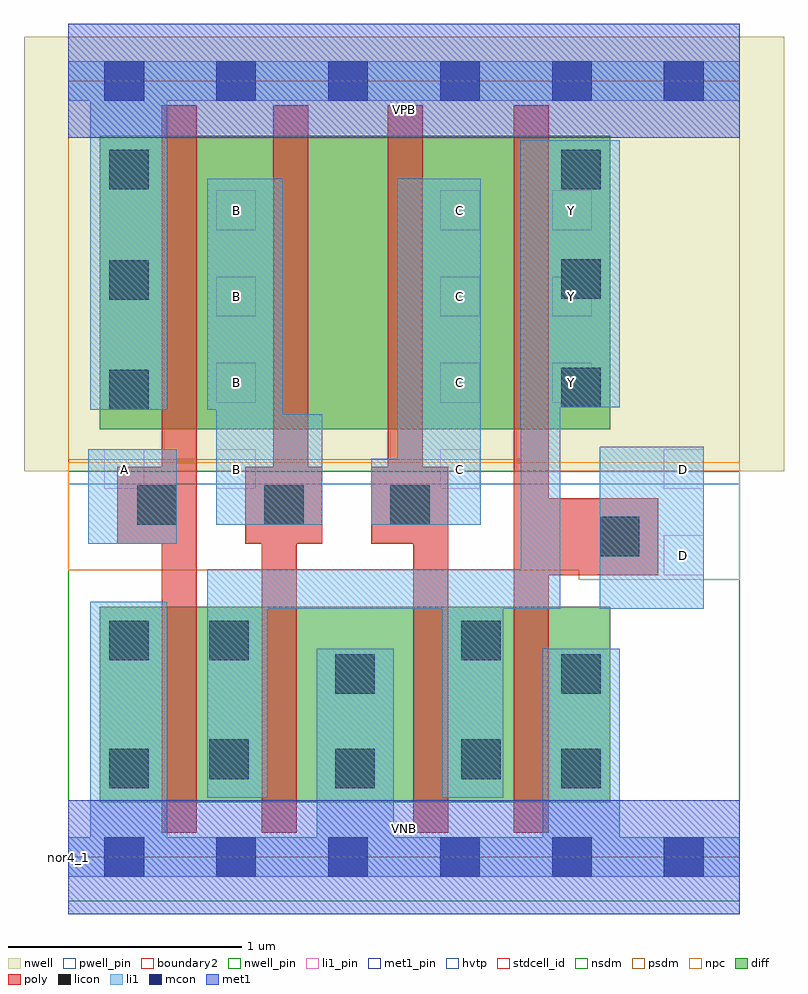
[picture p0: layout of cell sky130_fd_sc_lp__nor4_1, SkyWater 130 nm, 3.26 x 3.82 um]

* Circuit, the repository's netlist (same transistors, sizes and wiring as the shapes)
* Copyright 2020 The SkyWater PDK Authors
*
* Licensed under the Apache License, Version 2.0 (the "License");
* you may not use this file except in compliance with the License.
* You may obtain a copy of the License at
*
*     https://www.apache.org/licenses/LICENSE-2.0
*
* Unless required by applicable law or agreed to in writing, software
* distributed under the License is distributed on an "AS IS" BASIS,
* WITHOUT WARRANTIES OR CONDITIONS OF ANY KIND, either express or implied.
* See the License for the specific language governing permissions and
* limitations under the License.
*
* SPDX-License-Identifier: Apache-2.0

.SUBCKT sky130_fd_sc_lp__nor4_1 A B C D VGND VNB VPB VPWR Y
*.PININFO A:I B:I C:I D:I VGND:I VNB:I VPB:I VPWR:I Y:O
MMP0 VPWR A sndPA VPB sky130_fd_pr__pfet_01v8_hvt m=1 w=1.26U l=0.15U mult=1 sa=0.265
+ sb=0.265 sd=0.28 area=0.028 perim=0.76
MMP1 sndPA B sndPB VPB sky130_fd_pr__pfet_01v8_hvt m=1 w=1.26U l=0.15U mult=1 sa=0.265
+ sb=0.265 sd=0.28 area=0.028 perim=0.76
MMP2 sndPB C sndPC VPB sky130_fd_pr__pfet_01v8_hvt m=1 w=1.26U l=0.15U mult=1 sa=0.265
+ sb=0.265 sd=0.28 area=0.028 perim=0.76
MMP3 sndPC D Y VPB sky130_fd_pr__pfet_01v8_hvt m=1 w=1.26U l=0.15U mult=1 sa=0.265
+ sb=0.265 sd=0.28 area=0.028 perim=0.76
MMN0 Y A VGND VNB sky130_fd_pr__nfet_01v8 m=1 w=0.84U l=0.15U mult=1 sa=0.265 sb=0.265
+ sd=0.28 area=0.028 perim=0.76
MMN1 Y B VGND VNB sky130_fd_pr__nfet_01v8 m=1 w=0.84U l=0.15U mult=1 sa=0.265 sb=0.265
+ sd=0.28 area=0.028 perim=0.76
MMN2 Y C VGND VNB sky130_fd_pr__nfet_01v8 m=1 w=0.84U l=0.15U mult=1 sa=0.265 sb=0.265
+ sd=0.28 area=0.028 perim=0.76
MMN3 Y D VGND VNB sky130_fd_pr__nfet_01v8 m=1 w=0.84U l=0.15U mult=1 sa=0.265 sb=0.265
+ sd=0.28 area=0.028 perim=0.76
.ENDS sky130_fd_sc_lp__nor4_1

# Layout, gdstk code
import gdstk
lib = gdstk.Library(unit=1e-6, precision=1e-09)
def R(c, l, rs):  # rectangles x0, y0, x1, y1
    for r in rs: c.add(gdstk.rectangle(r[:2], r[2:], *l))
def A(c, l, x, y, w, h, nx, ny, dx, dy):  # array of equal rectangles
    R(c, l, [(x+i*dx, y+j*dy, x+i*dx+w, y+j*dy+h) for i in range(nx) for j in range(ny)])
def P(c, l, *ps):  # polygons
    for p in ps: c.add(gdstk.Polygon(p, *l))
nwell_pin = (64, 16)
nwell = (64, 20)
diff = (65, 20)
poly = (66, 20)
licon = (66, 44)
li1_pin = (67, 16)
li1 = (67, 20)
mcon = (67, 44)
met1_pin = (68, 16)
met1 = (68, 20)
hvtp = (78, 44)
stdcell_id = (81, 4)
nsdm = (93, 44)
psdm = (94, 20)
npc = (95, 20)
pwell_pin = (122, 16)
boundary2 = (236, 0)

sky130_fd_sc_lp__nor4_1 = lib.new_cell('sky130_fd_sc_lp__nor4_1')
R(sky130_fd_sc_lp__nor4_1, nwell_pin, [(0,3.085,2.88,3.33)])
R(sky130_fd_sc_lp__nor4_1, nwell, [(-0.19,1.655,3.07,3.52)])
R(sky130_fd_sc_lp__nor4_1, diff, [(0.135,0.235,2.325,1.075), (0.135,1.835,2.325,3.095)])
P(sky130_fd_sc_lp__nor4_1, poly, [(0.55,3.225),(0.4,3.225),(0.4,1.675),(0.21,1.675),(0.21,1.345),(0.4,1.345),(0.4,0.105),(0.55,0.105)],
  [(1.09,1.675),(1.03,1.675),(1.03,3.225),(0.88,3.225),(0.88,1.675),(0.76,1.675),(0.76,1.345),(0.83,1.345),(0.83,0.105),(0.98,0.105),(0.98,1.345),(1.09,1.345)],
  [(1.63,1.675),(1.52,1.675),(1.52,3.225),(1.37,3.225),(1.37,1.675),(1.3,1.675),(1.3,1.345),(1.48,1.345),(1.48,0.105),(1.63,0.105)],
  [(2.53,1.54),(2.06,1.54),(2.06,3.225),(1.91,3.225),(1.91,0.105),(2.06,0.105),(2.06,1.21),(2.53,1.21)])
A(sky130_fd_sc_lp__nor4_1, licon, 0.175, 0.295, 0.17, 0.17, 3, 1, 0.97, 0)
R(sky130_fd_sc_lp__nor4_1, licon, [(0.605,0.335,0.775,0.505), (1.685,0.335,1.855,0.505), (1.145,0.7,1.315,0.87), (2.115,0.7,2.285,0.87), (0.175,0.845,0.345,1.015), (0.605,0.845,0.775,1.015), (1.685,0.845,1.855,1.015), (2.28,1.29,2.45,1.46), (0.295,1.425,0.465,1.595), (0.84,1.425,1.01,1.595), (1.38,1.425,1.55,1.595), (0.175,1.92,0.345,2.09), (2.115,1.93,2.285,2.1), (0.175,2.39,0.345,2.56), (2.115,2.395,2.285,2.565), (0.175,2.865,0.345,3.035), (2.115,2.865,2.285,3.035)])
A(sky130_fd_sc_lp__nor4_1, li1_pin, 0.635, 1.58, 0.17, 0.17, 3, 1, 0.96, 0)
A(sky130_fd_sc_lp__nor4_1, li1_pin, 0.635, 1.95, 0.17, 0.17, 1, 3, 0, 0.37)
A(sky130_fd_sc_lp__nor4_1, li1_pin, 1.595, 1.95, 0.17, 0.17, 1, 3, 0, 0.37)
A(sky130_fd_sc_lp__nor4_1, li1_pin, 2.075, 1.95, 0.17, 0.17, 1, 3, 0, 0.37)
R(sky130_fd_sc_lp__nor4_1, li1_pin, [(2.555,1.21,2.725,1.38), (0.155,1.58,0.325,1.75)])
R(sky130_fd_sc_lp__nor4_1, li1, [(2.28,1.065,2.725,1.76), (0.085,1.345,0.465,1.75)])
P(sky130_fd_sc_lp__nor4_1, li1, [(2.88,3.415),(0,3.415),(0,3.245),(0.095,3.245),(0.095,1.92),(0.425,1.92),(0.425,3.245),(2.88,3.245)],
  [(1.09,1.9),(0.92,1.9),(0.92,2.91),(0.595,2.91),(0.595,1.92),(0.635,1.92),(0.635,1.425),(1.09,1.425)],
  [(1.77,2.91),(1.41,2.91),(1.41,1.71),(1.3,1.71),(1.3,1.425),(1.77,1.425)],
  [(2.365,3.075),(1.94,3.075),(1.94,1.235),(0.595,1.235),(0.595,0.255),(0.855,0.255),(0.855,1.065),(1.605,1.065),(1.605,0.255),(1.865,0.255),(1.865,1.065),(2.11,1.065),(2.11,1.93),(2.365,1.93)],
  [(2.88,0.085),(2.365,0.085),(2.365,0.895),(2.035,0.895),(2.035,0.085),(1.395,0.085),(1.395,0.895),(1.065,0.895),(1.065,0.085),(0.425,0.085),(0.425,1.095),(0.095,1.095),(0.095,0.085),(0,0.085),(0,-0.085),(2.88,-0.085)])
A(sky130_fd_sc_lp__nor4_1, mcon, 0.155, -0.085, 0.17, 0.17, 6, 2, 0.48, 3.33)
R(sky130_fd_sc_lp__nor4_1, met1_pin, [(0,0,2.88,0.245), (0,3.085,2.88,3.33)])
R(sky130_fd_sc_lp__nor4_1, met1, [(0,-0.245,2.88,0.245), (0,3.085,2.88,3.575)])
R(sky130_fd_sc_lp__nor4_1, hvtp, [(0,1.6,2.88,3.33)])
R(sky130_fd_sc_lp__nor4_1, stdcell_id, [(0,0,2.88,3.33)])
R(sky130_fd_sc_lp__nor4_1, nsdm, [(0,-0.19,2.88,1.655)])
P(sky130_fd_sc_lp__nor4_1, psdm, [(2.88,3.52),(0,3.52),(0,1.705),(1.94,1.705),(1.94,1.655),(2.88,1.655)])
P(sky130_fd_sc_lp__nor4_1, npc, [(2.88,1.695),(0,1.695),(0,1.23),(2.19,1.23),(2.19,1.19),(2.88,1.19)])
R(sky130_fd_sc_lp__nor4_1, pwell_pin, [(0,0,2.88,0.245)])
R(sky130_fd_sc_lp__nor4_1, boundary2, [(0,0,2.88,3.33)])
sky130_fd_sc_lp__nor4_1.add(gdstk.Label('VNB', (1.44,0.123), layer=64, texttype=59))
sky130_fd_sc_lp__nor4_1.add(gdstk.Label('VPB', (1.44,3.208), layer=64, texttype=5))
sky130_fd_sc_lp__nor4_1.add(gdstk.Label('nor4_1', (0,0), layer=83, texttype=44))
sky130_fd_sc_lp__nor4_1.add(gdstk.Label('VPWR', (1.44,3.208), layer=68, texttype=5))
sky130_fd_sc_lp__nor4_1.add(gdstk.Label('VGND', (1.44,0.123), layer=68, texttype=5))
sky130_fd_sc_lp__nor4_1.add(gdstk.Label('A', (0.24,1.665), layer=67, texttype=5))
sky130_fd_sc_lp__nor4_1.add(gdstk.Label('B', (0.72,1.665), layer=67, texttype=5))
sky130_fd_sc_lp__nor4_1.add(gdstk.Label('C', (1.68,1.665), layer=67, texttype=5))
sky130_fd_sc_lp__nor4_1.add(gdstk.Label('D', (2.64,1.295), layer=67, texttype=5))
sky130_fd_sc_lp__nor4_1.add(gdstk.Label('D', (2.64,1.665), layer=67, texttype=5))
sky130_fd_sc_lp__nor4_1.add(gdstk.Label('Y', (2.16,2.035), layer=67, texttype=5))
sky130_fd_sc_lp__nor4_1.add(gdstk.Label('Y', (2.16,2.775), layer=67, texttype=5))
sky130_fd_sc_lp__nor4_1.add(gdstk.Label('Y', (2.16,2.405), layer=67, texttype=5))
sky130_fd_sc_lp__nor4_1.add(gdstk.Label('C', (1.68,2.775), layer=67, texttype=5))
sky130_fd_sc_lp__nor4_1.add(gdstk.Label('C', (1.68,2.405), layer=67, texttype=5))
sky130_fd_sc_lp__nor4_1.add(gdstk.Label('C', (1.68,2.035), layer=67, texttype=5))
sky130_fd_sc_lp__nor4_1.add(gdstk.Label('B', (0.72,2.775), layer=67, texttype=5))
sky130_fd_sc_lp__nor4_1.add(gdstk.Label('B', (0.72,2.405), layer=67, texttype=5))
sky130_fd_sc_lp__nor4_1.add(gdstk.Label('B', (0.72,2.035), layer=67, texttype=5))

lib.write_gds('sky130_fd_sc_lp__nor4_1.gds')
